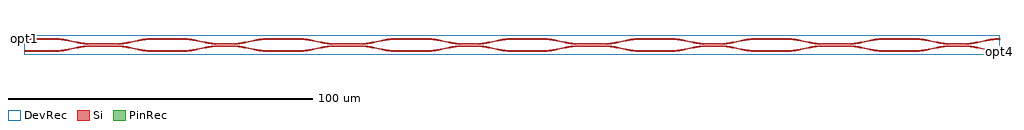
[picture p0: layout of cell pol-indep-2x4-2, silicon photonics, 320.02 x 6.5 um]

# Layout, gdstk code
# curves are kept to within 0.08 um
import gdstk
lib = gdstk.Library(unit=1e-6, precision=1e-09)
def R(c, l, rs):  # rectangles x0, y0, x1, y1
    for r in rs: c.add(gdstk.rectangle(r[:2], r[2:], *l))
def P(c, l, *ps):  # polygons
    for p in ps: c.add(gdstk.Polygon(p, *l))
Si = (1, 0)
PinRec = (1, 10)
DevRec = (68, 0)

layer_0_0_phase_sec_1_7 = lib.new_cell('layer-0_0_phase_sec_1$7')
P(layer_0_0_phase_sec_1_7, Si, [(0,-0.225),(0,0.225),(1.617,0.225),(3.233,0.224),(6.466,0.224),(8.083,0.225),(10,0.225),(10,-0.225),(8.083,-0.225),(6.466,-0.224),(3.233,-0.224),(1.617,-0.225)])

dc_arm_up_8_7 = lib.new_cell('dc_arm_up_8$7')
R(dc_arm_up_8_7, Si, [(12,0.1,20,0.55)])
P(dc_arm_up_8_7, Si, [(20,0.1),(20,0.55),(21.481,0.613),(22.966,0.793),(29.344,2.033),(30.861,2.188),(32,2.225),(32,1.775),(30.519,1.712),(29.034,1.532),(22.656,0.292),(21.139,0.137)],
  [(12,0.1),(10.861,0.137),(9.344,0.292),(2.966,1.532),(1.481,1.712),(0,1.775),(0,2.225),(1.139,2.188),(2.656,2.033),(9.034,0.793),(10.519,0.613),(12,0.55)])

dc_arm_down_8_7 = lib.new_cell('dc_arm_down_8$7')
R(dc_arm_down_8_7, Si, [(12,-0.55,20,-0.1)])
P(dc_arm_down_8_7, Si, [(32,-2.225),(30.861,-2.188),(29.344,-2.033),(22.966,-0.793),(21.481,-0.613),(20,-0.55),(20,-0.1),(21.139,-0.137),(22.656,-0.292),(29.034,-1.532),(30.519,-1.712),(32,-1.775)],
  [(0,-2.225),(0,-1.775),(1.481,-1.712),(2.966,-1.532),(9.344,-0.292),(10.861,-0.137),(12,-0.1),(12,-0.55),(10.519,-0.613),(9.034,-0.793),(2.656,-2.033),(1.139,-2.188)])

dc_8_7 = lib.new_cell('dc_8$7')
dc_8_7.add(gdstk.Reference(dc_arm_up_8_7, (0,0)))
dc_8_7.add(gdstk.Reference(dc_arm_down_8_7, (0,0)))

layer_0_0_phase_sec_2_7 = lib.new_cell('layer-0_0_phase_sec_2$7')
P(layer_0_0_phase_sec_2_7, Si, [(3.229,-0.238),(0,-0.225),(0,0.225),(10,0.225),(10,-0.225)])

layer_0_0_phase_sec_3_7 = lib.new_cell('layer-0_0_phase_sec_3$7')
P(layer_0_0_phase_sec_3_7, Si, [(0,-0.225),(0,0.225),(10,0.225),(10,-0.225)])

dc_arm_up_4_7 = lib.new_cell('dc_arm_up_4$7')
R(dc_arm_up_4_7, Si, [(12,0.1,16,0.55)])
P(dc_arm_up_4_7, Si, [(16,0.1),(16,0.55),(17.481,0.613),(18.966,0.793),(25.344,2.033),(26.861,2.188),(28,2.225),(28,1.775),(26.519,1.712),(25.034,1.532),(18.656,0.292),(17.139,0.137)],
  [(12,0.1),(10.861,0.137),(9.344,0.292),(2.966,1.532),(1.481,1.712),(0,1.775),(0,2.225),(1.139,2.188),(2.656,2.033),(9.034,0.793),(10.519,0.613),(12,0.55)])

dc_arm_down_4_7 = lib.new_cell('dc_arm_down_4$7')
R(dc_arm_down_4_7, Si, [(12,-0.55,16,-0.1)])
P(dc_arm_down_4_7, Si, [(28,-2.225),(26.861,-2.188),(25.344,-2.033),(18.966,-0.793),(17.481,-0.613),(16,-0.55),(16,-0.1),(17.139,-0.137),(18.656,-0.292),(25.034,-1.532),(26.519,-1.712),(28,-1.775)],
  [(0,-2.225),(0,-1.775),(1.481,-1.712),(2.966,-1.532),(9.344,-0.292),(10.861,-0.137),(12,-0.1),(12,-0.55),(10.519,-0.613),(9.034,-0.793),(2.656,-2.033),(1.139,-2.188)])

dc_4_7 = lib.new_cell('dc_4$7')
dc_4_7.add(gdstk.Reference(dc_arm_up_4_7, (0,0)))
dc_4_7.add(gdstk.Reference(dc_arm_down_4_7, (0,0)))

layer_1_0_phase_sec_0_7 = lib.new_cell('layer-1_0_phase_sec_0$7')
P(layer_1_0_phase_sec_0_7, Si, [(6.442,-0.23),(0,-0.225),(0,0.225),(10,0.225),(10,-0.225)])

layer_1_0_phase_sec_3_7 = lib.new_cell('layer-1_0_phase_sec_3$7')
P(layer_1_0_phase_sec_3_7, Si, [(0,-0.225),(0,0.225),(10,0.225),(10,-0.225)])

layer_0_0_phase_sec_0_7 = lib.new_cell('layer-0_0_phase_sec_0$7')
P(layer_0_0_phase_sec_0_7, Si, [(0,-0.225),(0,0.225),(1.615,0.223),(6.458,0.223),(8.073,0.224),(9.687,0.225),(10,0.225),(10,-0.225),(9.687,-0.225),(8.073,-0.224),(6.458,-0.223),(1.615,-0.223)])

layer_2_0_phase_sec_0_7 = lib.new_cell('layer-2_0_phase_sec_0$7')
P(layer_2_0_phase_sec_0_7, Si, [(0,-0.225),(0,0.225),(10,0.225),(10,-0.225)])

layer_2_0_phase_sec_1_7 = lib.new_cell('layer-2_0_phase_sec_1$7')
P(layer_2_0_phase_sec_1_7, Si, [(4.855,-0.242),(0,-0.225),(0,0.225),(10,0.225),(10,-0.225)])

layer_2_0_phase_sec_2_7 = lib.new_cell('layer-2_0_phase_sec_2$7')
P(layer_2_0_phase_sec_2_7, Si, [(3.229,-0.235),(0,-0.225),(0,0.225),(10,0.225),(10,-0.225)])

layer_2_0_phase_sec_3_7 = lib.new_cell('layer-2_0_phase_sec_3$7')
P(layer_2_0_phase_sec_3_7, Si, [(0,-0.225),(0,0.225),(10,0.225),(10,-0.225)])

layer_1_0_phase_sec_1_7 = lib.new_cell('layer-1_0_phase_sec_1$7')
P(layer_1_0_phase_sec_1_7, Si, [(6.455,-0.231),(0,-0.225),(0,0.225),(10,0.225),(10,-0.225)])

layer_3_0_phase_sec_3_7 = lib.new_cell('layer-3_0_phase_sec_3$7')
P(layer_3_0_phase_sec_3_7, Si, [(0,-0.225),(0,0.225),(10,0.225),(10,-0.225)])

layer_3_0_phase_sec_0_7 = lib.new_cell('layer-3_0_phase_sec_0$7')
P(layer_3_0_phase_sec_0_7, Si, [(0,-0.225),(0,0.225),(10,0.225),(10,-0.225)])

layer_3_0_phase_sec_1_7 = lib.new_cell('layer-3_0_phase_sec_1$7')
P(layer_3_0_phase_sec_1_7, Si, [(4.879,-0.25),(0,-0.225),(0,0.225),(10,0.225),(10,-0.225)])

layer_1_0_phase_sec_2_7 = lib.new_cell('layer-1_0_phase_sec_2$7')
P(layer_1_0_phase_sec_2_7, Si, [(3.243,-0.253),(0,-0.225),(0,0.225),(10,0.225),(10,-0.225)])

layer_3_0_phase_sec_2_7 = lib.new_cell('layer-3_0_phase_sec_2$7')
P(layer_3_0_phase_sec_2_7, Si, [(3.238,-0.241),(0,-0.225),(0,0.225),(10,0.225),(10,-0.225)])

pol_indep_2x4_2 = lib.new_cell('pol-indep-2x4-2')
R(pol_indep_2x4_2, DevRec, [(0,-1,320,5.503)])
pol_indep_2x4_2.add(gdstk.FlexPath([(319.99,0.25),(320.01,0.25)], 0.45, ends="flush", simple_path=True, layer=1, datatype=10))  # PinRec
pol_indep_2x4_2.add(gdstk.FlexPath([(319.99,4.25),(320.01,4.25)], 0.45, ends="flush", simple_path=True, layer=1, datatype=10))  # PinRec
pol_indep_2x4_2.add(gdstk.FlexPath([(0.01,0.25),(-0.01,0.25)], 0.45, ends="flush", simple_path=True, layer=1, datatype=10))  # PinRec
pol_indep_2x4_2.add(gdstk.FlexPath([(0.01,4.25),(-0.01,4.25)], 0.45, ends="flush", simple_path=True, layer=1, datatype=10))  # PinRec
pol_indep_2x4_2.add(gdstk.Reference(layer_0_0_phase_sec_1_7, (0,0.25)))
pol_indep_2x4_2.add(gdstk.Reference(dc_8_7, (10,2.25)))
pol_indep_2x4_2.add(gdstk.Reference(dc_8_7, (90,2.25)))
pol_indep_2x4_2.add(gdstk.Reference(dc_8_7, (170,2.25)))
pol_indep_2x4_2.add(gdstk.Reference(dc_8_7, (250,2.25)))
pol_indep_2x4_2.add(gdstk.Reference(layer_0_0_phase_sec_2_7, (42,4.25)))
pol_indep_2x4_2.add(gdstk.Reference(layer_0_0_phase_sec_3_7, (42,0.25)))
pol_indep_2x4_2.add(gdstk.Reference(dc_4_7, (52,2.25)))
pol_indep_2x4_2.add(gdstk.Reference(dc_4_7, (132,2.25)))
pol_indep_2x4_2.add(gdstk.Reference(dc_4_7, (212,2.25)))
pol_indep_2x4_2.add(gdstk.Reference(dc_4_7, (292,2.25)))
pol_indep_2x4_2.add(gdstk.Reference(layer_1_0_phase_sec_0_7, (80,4.25)))
pol_indep_2x4_2.add(gdstk.Reference(layer_1_0_phase_sec_3_7, (122,0.25)))
pol_indep_2x4_2.add(gdstk.Reference(layer_0_0_phase_sec_0_7, (0,4.25)))
pol_indep_2x4_2.add(gdstk.Reference(layer_2_0_phase_sec_0_7, (160,4.25)))
pol_indep_2x4_2.add(gdstk.Reference(layer_2_0_phase_sec_1_7, (160,0.25)))
pol_indep_2x4_2.add(gdstk.Reference(layer_2_0_phase_sec_2_7, (202,4.25)))
pol_indep_2x4_2.add(gdstk.Reference(layer_2_0_phase_sec_3_7, (202,0.25)))
pol_indep_2x4_2.add(gdstk.Reference(layer_1_0_phase_sec_1_7, (80,0.25)))
pol_indep_2x4_2.add(gdstk.Reference(layer_3_0_phase_sec_3_7, (282,0.25)))
pol_indep_2x4_2.add(gdstk.Reference(layer_3_0_phase_sec_0_7, (240,4.25)))
pol_indep_2x4_2.add(gdstk.Reference(layer_3_0_phase_sec_1_7, (240,0.25)))
pol_indep_2x4_2.add(gdstk.Reference(layer_1_0_phase_sec_2_7, (122,4.25)))
pol_indep_2x4_2.add(gdstk.Reference(layer_3_0_phase_sec_2_7, (282,4.25)))
pol_indep_2x4_2.add(gdstk.Label('opt4', (320,0.25), layer=1, texttype=10))
pol_indep_2x4_2.add(gdstk.Label('opt3', (320,4.25), layer=1, texttype=10))
pol_indep_2x4_2.add(gdstk.Label('opt1', (0,4.25), layer=1, texttype=10))
pol_indep_2x4_2.add(gdstk.Label('opt2', (0,0.25), layer=1, texttype=10))

lib.write_gds('pol-indep-2x4-2.gds')
